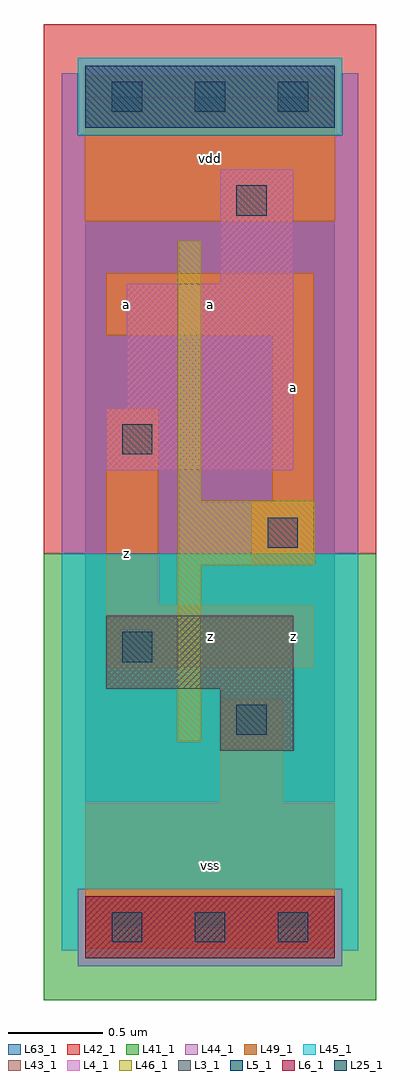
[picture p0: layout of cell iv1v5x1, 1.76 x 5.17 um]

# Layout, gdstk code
import gdstk
lib = gdstk.Library(unit=1e-6, precision=1e-09)
def R(c, l, rs):  # rectangles x0, y0, x1, y1
    for r in rs: c.add(gdstk.rectangle(r[:2], r[2:], *l))
def A(c, l, x, y, w, h, nx, ny, dx, dy):  # array of equal rectangles
    R(c, l, [(x+i*dx, y+j*dy, x+i*dx+w, y+j*dy+h) for i in range(nx) for j in range(ny)])
L3_1 = (3, 1)
L4_1 = (4, 1)
L5_1 = (5, 1)
L6_1 = (6, 1)
L25_1 = (25, 1)
L41_1 = (41, 1)
L42_1 = (42, 1)
L43_1 = (43, 1)
L44_1 = (44, 1)
L45_1 = (45, 1)
L46_1 = (46, 1)
L49_1 = (49, 1)
L63_1 = (63, 1)

iv1v5x1 = lib.new_cell('iv1v5x1')
R(iv1v5x1, L3_1, [(0.715,0.935,1.1,1.265), (0.11,1.265,1.1,1.65)])
R(iv1v5x1, L4_1, [(0.11,2.42,1.1,2.75), (0.22,2.75,1.1,3.41), (0.715,3.41,1.1,4.015)])
R(iv1v5x1, L5_1, [(0,4.235,1.32,4.565)])
R(iv1v5x1, L6_1, [(0,-0.165,1.32,0.165)])
A(iv1v5x1, L25_1, 0.14, -0.08, 0.16, 0.16, 3, 2, 0.44, 4.4)
R(iv1v5x1, L25_1, [(0.8,1.02,0.96,1.18), (0.195,1.405,0.355,1.565), (0.965,2.01,1.125,2.17), (0.195,2.505,0.355,2.665), (0.8,3.77,0.96,3.93)])
R(iv1v5x1, L41_1, [(-0.22,-0.385,1.54,1.98)])
R(iv1v5x1, L42_1, [(-0.22,1.98,1.54,4.785)])
R(iv1v5x1, L43_1, [(0,-0.165,1.32,0.165), (0.715,0.935,1.1,1.265), (0.11,1.265,1.1,1.65), (0.11,2.42,1.1,2.75), (0.22,2.75,1.1,3.41), (0.715,3.41,1.1,4.015), (0,4.235,1.32,4.565)])
R(iv1v5x1, L44_1, [(-0.04,-0.205,1.36,0.205), (-0.125,1.98,1.445,4.195), (-0.125,4.195,-0.04,4.525), (1.36,4.195,1.445,4.525)])
R(iv1v5x1, L45_1, [(-0.125,-0.125,-0.04,0.205), (1.36,-0.125,1.445,0.205), (-0.125,0.205,1.445,1.98), (-0.04,4.195,1.36,4.605)])
R(iv1v5x1, L46_1, [(0.49,0.985,0.61,1.92), (0.49,1.92,1.215,2.26), (0.49,2.26,0.61,3.635)])
R(iv1v5x1, L49_1, [(0,-0.11,1.32,0.66), (0.715,0.66,1.045,1.21), (0.11,1.375,1.21,1.705), (0.11,1.705,0.385,2.75), (0.88,1.925,1.21,2.255), (0.99,2.255,1.21,3.135), (0.11,3.135,1.21,3.465), (0,3.74,1.32,4.51)])
R(iv1v5x1, L63_1, [(0,0,1.32,4.4)])
iv1v5x1.add(gdstk.Label('z', (0.22,1.98), layer=49, texttype=1))
iv1v5x1.add(gdstk.Label('a', (0.22,3.3), layer=49, texttype=1))
iv1v5x1.add(gdstk.Label('vss', (0.66,0.33), layer=49, texttype=1))
iv1v5x1.add(gdstk.Label('z', (0.66,1.54), layer=49, texttype=1))
iv1v5x1.add(gdstk.Label('a', (0.66,3.3), layer=49, texttype=1))
iv1v5x1.add(gdstk.Label('vdd', (0.66,4.07), layer=49, texttype=1))
iv1v5x1.add(gdstk.Label('z', (1.1,1.54), layer=49, texttype=1))
iv1v5x1.add(gdstk.Label('a', (1.1,2.86), layer=49, texttype=1))

lib.write_gds('iv1v5x1.gds')
